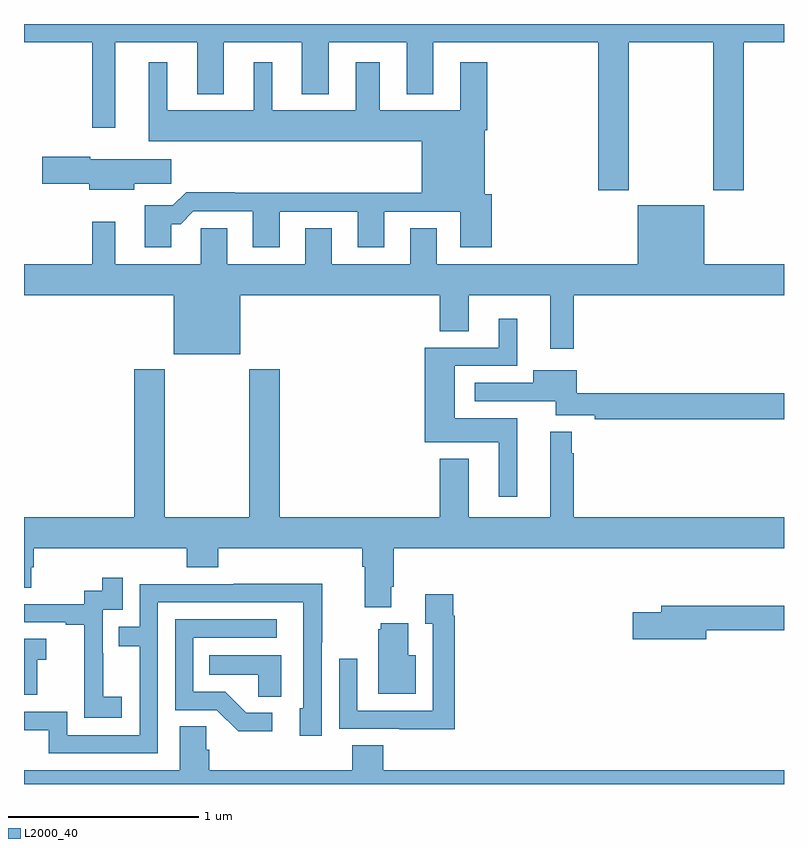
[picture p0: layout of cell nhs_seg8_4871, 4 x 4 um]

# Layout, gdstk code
import gdstk
lib = gdstk.Library(unit=1e-6, precision=1e-09)
def P(c, l, *ps):  # polygons
    for p in ps: c.add(gdstk.Polygon(p, *l))
L2000_40 = (2000, 40)

nhs_seg8_4871 = lib.new_cell('nhs_seg8_4871')
P(nhs_seg8_4871, L2000_40, [(408.183,1145.804),(408.628,1145.804),(408.628,1145.025),(408.788,1145.025),(408.788,1145.804),(409,1145.804),(409,1145.9),(405,1145.9),(405,1145.804),(405.36,1145.804),(405.36,1145.355),(405.481,1145.355),(405.481,1145.804),(405.911,1145.804),(405.911,1145.531),(406.051,1145.531),(406.051,1145.804),(406.463,1145.804),(406.463,1145.531),(406.603,1145.531),(406.603,1145.804),(407.015,1145.804),(407.015,1145.531),(407.155,1145.531),(407.155,1145.804),(408.023,1145.804),(408.023,1145.025),(408.183,1145.025)],
  [(405.775,1144.847),(405.824,1144.847),(405.891,1144.914),(406.205,1144.914),(406.205,1144.725),(406.345,1144.725),(406.345,1144.911),(406.757,1144.911),(406.757,1144.725),(406.897,1144.725),(406.897,1144.911),(407.297,1144.911),(407.297,1144.725),(407.462,1144.725),(407.462,1145.004),(407.425,1145.004),(407.425,1145.342),(407.438,1145.342),(407.438,1145.698),(407.297,1145.698),(407.297,1145.446),(406.873,1145.446),(406.873,1145.698),(406.745,1145.698),(406.745,1145.446),(406.306,1145.446),(406.306,1145.698),(406.208,1145.698),(406.208,1145.446),(405.754,1145.446),(405.754,1145.698),(405.656,1145.698),(405.656,1145.282),(407.093,1145.282),(407.093,1145.012),(406.109,1145.012),(406.109,1145.015),(405.854,1145.015),(405.784,1144.945),(405.635,1144.945),(405.635,1144.725),(405.775,1144.725)],
  [(405.58,1145.059),(405.775,1145.059),(405.775,1145.188),(405.348,1145.188),(405.348,1145.201),(405.096,1145.201),(405.096,1145.059),(405.344,1145.059),(405.344,1145.027),(405.58,1145.027)],
  [(406.138,1144.472),(407.189,1144.472),(407.189,1144.282),(407.341,1144.282),(407.341,1144.472),(407.771,1144.472),(407.771,1144.191),(407.893,1144.191),(407.893,1144.472),(409,1144.472),(409,1144.636),(408.58,1144.636),(408.58,1144.945),(408.23,1144.945),(408.23,1144.636),(407.173,1144.636),(407.173,1144.826),(407.033,1144.826),(407.033,1144.636),(406.621,1144.636),(406.621,1144.826),(406.481,1144.826),(406.481,1144.636),(406.069,1144.636),(406.069,1144.826),(405.93,1144.826),(405.93,1144.636),(405.481,1144.636),(405.481,1144.858),(405.36,1144.858),(405.36,1144.636),(405,1144.636),(405,1144.472),(405.788,1144.472),(405.788,1144.163),(406.138,1144.163)],
  [(407.596,1143.826),(407.266,1143.826),(407.266,1144.101),(407.596,1144.101),(407.596,1144.348),(407.498,1144.348),(407.498,1144.197),(407.108,1144.197),(407.108,1143.698),(407.498,1143.698),(407.498,1143.411),(407.596,1143.411)],
  [(406.933,1142.938),(406.946,1142.938),(406.946,1143.14),(409,1143.14),(409,1143.304),(407.893,1143.304),(407.893,1143.641),(407.882,1143.641),(407.882,1143.754),(407.771,1143.754),(407.771,1143.304),(407.341,1143.304),(407.341,1143.613),(407.189,1143.613),(407.189,1143.304),(406.346,1143.304),(406.346,1144.084),(406.186,1144.084),(406.186,1143.304),(405.741,1143.304),(405.741,1144.084),(405.581,1144.084),(405.581,1143.304),(405,1143.304),(405,1142.932),(405.037,1142.932),(405.037,1143.042),(405.05,1143.042),(405.05,1143.14),(405.857,1143.14),(405.857,1143.041),(406.022,1143.041),(406.022,1143.14),(406.781,1143.14),(406.781,1143.044),(406.793,1143.044),(406.793,1142.831),(406.933,1142.831)],
  [(409,1143.956),(407.908,1143.956),(407.908,1144.078),(407.681,1144.078),(407.681,1144.011),(407.373,1144.011),(407.373,1143.915),(407.798,1143.915),(407.798,1143.84),(408.004,1143.84),(408.004,1143.82),(409,1143.82)],
  [(405.514,1142.359),(405.416,1142.359),(405.416,1142.588),(405.414,1142.588),(405.414,1142.817),(405.519,1142.817),(405.519,1142.986),(405.411,1142.986),(405.411,1142.916),(405.318,1142.916),(405.318,1142.847),(405,1142.847),(405,1142.751),(405.221,1142.751),(405.221,1142.739),(405.317,1142.739),(405.317,1142.455),(405.316,1142.455),(405.316,1142.249),(405.514,1142.249)],
  [(405.705,1142.856),(406.47,1142.856),(406.47,1142.298),(406.451,1142.298),(406.451,1142.154),(406.566,1142.154),(406.566,1142.647),(406.569,1142.647),(406.569,1142.954),(406.105,1142.954),(406.105,1142.952),(405.609,1142.952),(405.609,1142.727),(405.499,1142.727),(405.499,1142.626),(405.609,1142.626),(405.609,1142.157),(405.228,1142.157),(405.228,1142.28),(405,1142.28),(405,1142.184),(405.131,1142.184),(405.131,1142.061),(405.705,1142.061)],
  [(407.267,1142.786),(407.26,1142.786),(407.26,1142.899),(407.111,1142.899),(407.111,1142.743),(407.151,1142.743),(407.151,1142.286),(406.755,1142.286),(406.755,1142.56),(406.659,1142.56),(406.659,1142.19),(406.975,1142.19),(406.975,1142.189),(407.267,1142.189)],
  [(408.592,1142.71),(409,1142.71),(409,1142.839),(408.353,1142.839),(408.353,1142.805),(408.204,1142.805),(408.204,1142.663),(408.592,1142.663)],
  [(406.306,1142.274),(406.171,1142.274),(406.06,1142.385),(405.891,1142.385),(405.891,1142.67),(406.33,1142.67),(406.33,1142.766),(405.795,1142.766),(405.795,1142.289),(406.014,1142.289),(406.127,1142.177),(406.306,1142.177)],
  [(407.062,1142.578),(407.023,1142.578),(407.023,1142.746),(406.877,1142.746),(406.877,1142.715),(406.865,1142.715),(406.865,1142.375),(407.062,1142.375)],
  [(405.069,1142.555),(405.118,1142.555),(405.118,1142.665),(405,1142.665),(405,1142.37),(405.069,1142.37)],
  [(406.354,1142.578),(405.976,1142.578),(405.976,1142.474),(406.233,1142.474),(406.233,1142.359),(406.354,1142.359)],
  [(405.974,1142.081),(405.96,1142.081),(405.96,1142.204),(405.821,1142.204),(405.821,1141.972),(405,1141.972),(405,1141.9),(409,1141.9),(409,1141.972),(406.892,1141.972),(406.892,1142.105),(406.727,1142.105),(406.727,1141.972),(405.974,1141.972)])

lib.write_gds('nhs_seg8_4871.gds')
